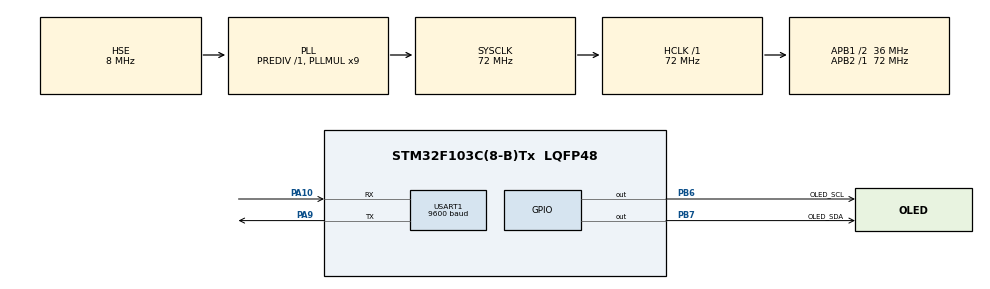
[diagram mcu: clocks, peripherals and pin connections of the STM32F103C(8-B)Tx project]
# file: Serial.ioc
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Mcu.Family=STM32F1
Mcu.Name=STM32F103C(8-B)Tx
Mcu.Package=LQFP48
NVIC.PriorityGroup=NVIC_PRIORITYGROUP_2
NVIC.USART1_IRQn=true\:1\:1\:true\:true\:true\:1\:true\:true\:true
PA10.Mode=Asynchronous
PA10.Signal=USART1_RX
PA13.Mode=Serial_Wire
PA13.Signal=SYS_JTMS-SWDIO
PA14.Mode=Serial_Wire
PA14.Signal=SYS_JTCK-SWCLK
PA9.Mode=Asynchronous
PA9.Signal=USART1_TX
PB6.GPIO_Label=OLED_SCL
PB6.GPIO_ModeDefaultOutputPP=GPIO_MODE_OUTPUT_OD
PB6.GPIO_PuPd=GPIO_PULLUP
PB6.Signal=GPIO_Output
PB7.GPIO_Label=OLED_SDA
PB7.GPIO_ModeDefaultOutputPP=GPIO_MODE_OUTPUT_OD
PB7.GPIO_PuPd=GPIO_PULLUP
PB7.Signal=GPIO_Output
PC14-OSC32_IN.Mode=LSE-External-Oscillator
PC14-OSC32_IN.Signal=RCC_OSC32_IN
PC15-OSC32_OUT.Mode=LSE-External-Oscillator
PC15-OSC32_OUT.Signal=RCC_OSC32_OUT
PD0-OSC_IN.Mode=HSE-External-Oscillator
PD0-OSC_IN.Signal=RCC_OSC_IN
PD1-OSC_OUT.Mode=HSE-External-Oscillator
PD1-OSC_OUT.Signal=RCC_OSC_OUT
ProjectManager.HeapSize=0x200
ProjectManager.StackSize=0x400
ProjectManager.TargetToolchain=MDK-ARM V5.32
RCC.AHBFreq_Value=72000000
RCC.APB1CLKDivider=RCC_HCLK_DIV2
RCC.APB1Freq_Value=36000000
RCC.APB1TimFreq_Value=72000000
RCC.APB2Freq_Value=72000000
RCC.APB2TimFreq_Value=72000000
RCC.HCLKFreq_Value=72000000
RCC.PLLMUL=RCC_PLL_MUL9
RCC.PLLSourceVirtual=RCC_PLLSOURCE_HSE
RCC.SYSCLKFreq_VALUE=72000000
RCC.SYSCLKSource=RCC_SYSCLKSOURCE_PLLCLK
RCC.USBFreq_Value=72000000
USART1.BaudRate=9600
USART1.VirtualMode=VM_ASYNC
board=custom

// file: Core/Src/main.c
/* USER CODE BEGIN Header */
/**
  ******************************************************************************
  * @file           : main.c
  * @brief          : Main program body
  ******************************************************************************
  * @attention
  *
  * Copyright (c) 2026 STMicroelectronics.
  * All rights reserved.
  *
  * This software is licensed under terms that can be found in the LICENSE file
  * in the root directory of this software component.
  * If no LICENSE file comes with this software, it is provided AS-IS.
  *
  ******************************************************************************
  */
/* USER CODE END Header */
#include "main.h"

/* USER CODE BEGIN Includes */
#include <stdio.h>
#include "OLED.h"
#include "Serial.h"

/* USER CODE END Includes */

UART_HandleTypeDef huart1;

void SystemClock_Config(void);
static void MX_GPIO_Init(void);
static void MX_USART1_UART_Init(void);
static void MX_NVIC_Init(void);

int main(void)
{

  /* MCU Configuration--------------------------------------------------------*/

  /* Reset of all peripherals, Initializes the Flash interface and the Systick. */
  HAL_Init();

  /* Configure the system clock */
  SystemClock_Config();

  /* Initialize all configured peripherals */
  MX_GPIO_Init();
  MX_USART1_UART_Init();

  /* Initialize interrupts */
  MX_NVIC_Init();
  /* USER CODE BEGIN 2 */
  OLED_Init();
  Serial_Init();
  /* USER CODE END 2 */

  /* Infinite loop */
  /* USER CODE BEGIN WHILE */

  //发送

  Serial_SendByte(0x53);
  Serial_SendByte(0x43);
  Serial_SendByte('U');
  Serial_SendString("T\r\n");

  Serial_SendString("HUA_NAN_HU\r\n");

  Serial_SendNum(1888);
  Serial_SendString("  JLHS\r\n");

  printf("南京\r\n");

  //接收

  OLED_ShowString(1, 1, "RD:");

  while (1)
  {
    /* USER CODE END WHILE */

    /* USER CODE BEGIN 3 */
    if (Serial_GetRxFlag() == 1)
    {
        //接收并回传
        uint8_t content = Serial_ReceiveByte();
        Serial_SendByte(content);
        Serial_SendNum((uint32_t) content);

        //OLED显示
        OLED_ShowHexNum(1,4,content,2);
        OLED_ShowChar(1,8,content);
    }

  }
  /* USER CODE END 3 */
}

void SystemClock_Config(void)
{
  RCC_OscInitTypeDef RCC_OscInitStruct = {0};
  RCC_ClkInitTypeDef RCC_ClkInitStruct = {0};

  /** Initializes the RCC Oscillators according to the specified parameters
  * in the RCC_OscInitTypeDef structure.
  */
  RCC_OscInitStruct.OscillatorType = RCC_OSCILLATORTYPE_HSE;
  RCC_OscInitStruct.HSEState = RCC_HSE_ON;
  RCC_OscInitStruct.HSEPredivValue = RCC_HSE_PREDIV_DIV1;
  RCC_OscInitStruct.HSIState = RCC_HSI_ON;
  RCC_OscInitStruct.PLL.PLLState = RCC_PLL_ON;
  RCC_OscInitStruct.PLL.PLLSource = RCC_PLLSOURCE_HSE;
  RCC_OscInitStruct.PLL.PLLMUL = RCC_PLL_MUL9;
  if (HAL_RCC_OscConfig(&RCC_OscInitStruct) != HAL_OK)
  {
    Error_Handler();
  }

  /** Initializes the CPU, AHB and APB buses clocks
  */
  RCC_ClkInitStruct.ClockType = RCC_CLOCKTYPE_HCLK|RCC_CLOCKTYPE_SYSCLK
                              |RCC_CLOCKTYPE_PCLK1|RCC_CLOCKTYPE_PCLK2;
  RCC_ClkInitStruct.SYSCLKSource = RCC_SYSCLKSOURCE_PLLCLK;
  RCC_ClkInitStruct.AHBCLKDivider = RCC_SYSCLK_DIV1;
  RCC_ClkInitStruct.APB1CLKDivider = RCC_HCLK_DIV2;
  RCC_ClkInitStruct.APB2CLKDivider = RCC_HCLK_DIV1;

  if (HAL_RCC_ClockConfig(&RCC_ClkInitStruct, FLASH_LATENCY_2) != HAL_OK)
  {
    Error_Handler();
  }
}

/**
  * @brief NVIC Configuration.
  * @retval None
  */
static void MX_NVIC_Init(void)
{
  /* USART1_IRQn interrupt configuration */
  HAL_NVIC_SetPriority(USART1_IRQn, 1, 1);
  HAL_NVIC_EnableIRQ(USART1_IRQn);
}

static void MX_USART1_UART_Init(void)
{

  huart1.Instance = USART1;
  huart1.Init.BaudRate = 9600;
  huart1.Init.WordLength = UART_WORDLENGTH_8B;
  huart1.Init.StopBits = UART_STOPBITS_1;
  huart1.Init.Parity = UART_PARITY_NONE;
  huart1.Init.Mode = UART_MODE_TX_RX;
  huart1.Init.HwFlowCtl = UART_HWCONTROL_NONE;
  huart1.Init.OverSampling = UART_OVERSAMPLING_16;
  if (HAL_UART_Init(&huart1) != HAL_OK)
  {
    Error_Handler();
  }

}

static void MX_GPIO_Init(void)
{
  GPIO_InitTypeDef GPIO_InitStruct = {0};

  /* GPIO Ports Clock Enable */
  __HAL_RCC_GPIOC_CLK_ENABLE();
  __HAL_RCC_GPIOD_CLK_ENABLE();
  __HAL_RCC_GPIOA_CLK_ENABLE();
  __HAL_RCC_GPIOB_CLK_ENABLE();

  /*Configure GPIO pin Output Level */
  HAL_GPIO_WritePin(GPIOB, OLED_SCL_Pin|OLED_SDA_Pin, GPIO_PIN_RESET);

  /*Configure GPIO pins : OLED_SCL_Pin OLED_SDA_Pin */
  GPIO_InitStruct.Pin = OLED_SCL_Pin|OLED_SDA_Pin;
  GPIO_InitStruct.Mode = GPIO_MODE_OUTPUT_OD;
  GPIO_InitStruct.Pull = GPIO_PULLUP;
  GPIO_InitStruct.Speed = GPIO_SPEED_FREQ_LOW;
  HAL_GPIO_Init(GPIOB, &GPIO_InitStruct);

}

void Error_Handler(void)
{
  __disable_irq();
  while (1)
  {
  }
}
